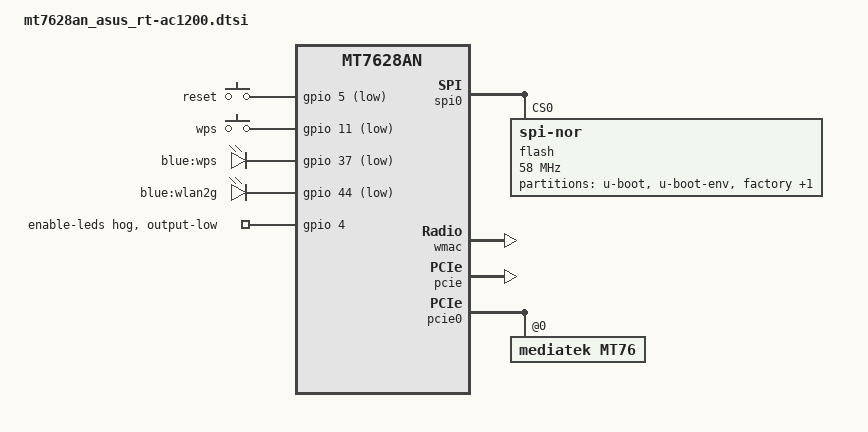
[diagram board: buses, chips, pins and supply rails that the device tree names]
// SPDX-License-Identifier: GPL-2.0-or-later OR MIT

#include "mt7628an.dtsi"

#include <dt-bindings/gpio/gpio.h>
#include <dt-bindings/input/input.h>

/ {
	aliases {
		led-boot = &led_wps;
		led-failsafe = &led_wps;
		led-running = &led_wps;
		led-upgrade = &led_wps;
		label-mac-device = &ethernet;
	};

	keys {
		compatible = "gpio-keys";

		reset {
			label = "reset";
			gpios = <&gpio 5 GPIO_ACTIVE_LOW>;
			linux,code = <KEY_RESTART>;
		};

		wps {
			label = "wps";
			gpios = <&gpio 11 GPIO_ACTIVE_LOW>;
			linux,code = <KEY_WPS_BUTTON>;
		};
	};

	leds {
		compatible = "gpio-leds";

		led_wps: wps {
			label = "blue:wps";
			gpios = <&gpio 37 GPIO_ACTIVE_LOW>;
		};

		wlan2g {
			label = "blue:wlan2g";
			gpios = <&gpio 44 GPIO_ACTIVE_LOW>;
			linux,default-trigger = "phy0tpt";
		};
	};
};

&spi0 {
	status = "okay";

	flash@0 {
		compatible = "jedec,spi-nor";
		reg = <0>;
		spi-max-frequency = <58000000>;
		m25p,fast-read;

		partitions: partitions {
			compatible = "fixed-partitions";
			#address-cells = <1>;
			#size-cells = <1>;

			partition@0 {
				label = "u-boot";
				reg = <0x0 0x30000>;
				read-only;
			};

			partition@30000 {
				label = "u-boot-env";
				reg = <0x30000 0x10000>;
				read-only;
			};

			factory: partition@40000 {
				label = "factory";
				reg = <0x40000 0x10000>;
				read-only;

				compatible = "nvmem-cells";
				#address-cells = <1>;
				#size-cells = <1>;

				macaddr_factory_4: macaddr@4 {
					reg = <0x4 0x6>;
				};
			};

			partition@50000 {
				compatible = "denx,uimage";
				label = "firmware";
				reg = <0x50000 0xfb0000>;
			};
		};
	};
};

&gpio {
	enable-leds {
		gpio-hog;
		line-name = "enable-leds";
		output-low;
		gpios = <4 GPIO_ACTIVE_HIGH>;
	};
};

&ethernet {
	nvmem-cells = <&macaddr_factory_4>;
	nvmem-cell-names = "mac-address";
};

&esw {
	mediatek,portmap = <0x3e>;
	mediatek,led_source = <4>;
};

&wmac {
	status = "okay";

	mediatek,mtd-eeprom = <&factory 0x0>;
};

&pcie {
	status = "okay";
};

&pcie0 {
	mt76@0,0 {
		compatible = "mediatek,mt76";
		reg = <0x0000 0 0 0 0>;
		mediatek,mtd-eeprom = <&factory 0x8000>;
		ieee80211-freq-limit = <5000000 6000000>;

		led {
			led-sources = <2>;
			led-active-low;
		};
	};
};
